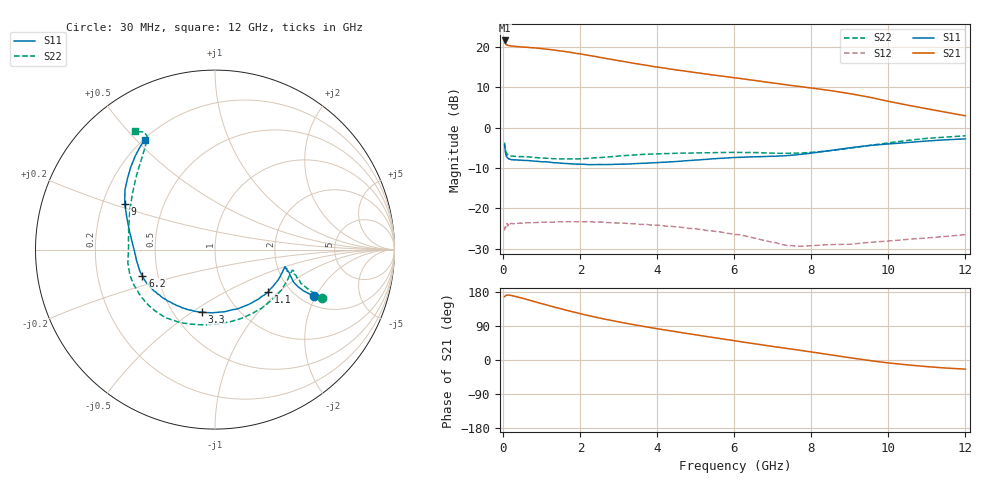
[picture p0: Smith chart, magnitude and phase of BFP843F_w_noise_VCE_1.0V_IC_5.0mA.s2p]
! Infineon Technologies  Discrete & RF Semiconductors
! BFP843F
! VCE =  1.0 V,  IC =  5.0 mA
! Common Emitter S-Parameters:  Aug 2013
# GHz  S  MA  R  50
!  f  S11  S21  S12  S22
! GHz  MAG  ANG  MAG  ANG  MAG  ANG  MAG  ANG
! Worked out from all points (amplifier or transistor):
!   103 points, 30 MHz to 12 GHz, reference 50 ohm
!   highest |S21| = 21.6 dB at 30 MHz (marker M1)
!   |S21| within 3 dB of that: start of sweep to 1.774 GHz
!   unconditionally stable (mu >= 1): 222 MHz to 447.5 MHz; 470.9 MHz to 505 MHz; 3.858 GHz to end of sweep
!   at 400 MHz: K = 1.00, MAG = 21.5 dB, |S12| = -23.7 dB
!   at 3.7 GHz: K = 0.98, MSG = 19.7 dB, |S12| = -23.9 dB
!   at 12 GHz: K = 1.54, MAG = 10.4 dB, |S12| = -26.5 dB
!   lowest NFmin = 0.82 dB at 450 MHz
!   S11 on the Smith chart (normalised r, x): 30 MHz: 2.34, -1.95; 1.1 GHz: 1.55, -0.86; 3.3 GHz: 0.69, -0.55; 6.2 GHz: 0.41, -0.15; 9 GHz: 0.29, +0.22; 12 GHz: 0.20, +0.53
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0.03  0.6119 -25.2  12.03 167.1  0.0531 34.7  0.656 -24.1
0.04  0.5431 -25.0  11.47 167.5  0.0585 26.7  0.5874 -23.6
0.05  0.5042 -24.0  11.06 169.7  0.0591 19.9  0.5432 -22.4
0.07  0.4547 -20.3  10.71 170.6  0.0624 14.7  0.4978 -19.7
0.15  0.4103 -14.7  10.38 171.2  0.0634 7.9  0.4511 -14.9
0.6  0.3929 -22.9  9.919 160.0  0.0664 2.0  0.4341 -27.5
0.9  0.3826 -32.4  9.649 151.4  0.0671 -0.4  0.4243 -39.6
1.1  0.3786 -38.8  9.39 145.9  0.0678 -1.0  0.4191 -48.0
1.3  0.3685 -45.4  9.178 140.2  0.0677 -1.4  0.4125 -56.4
1.6  0.3608 -55.0  8.777 132.3  0.0685 -3.8  0.4103 -68.7
2.1  0.3521 -70.6  8.032 119.7  0.0682 -7.2  0.415 -87.7
2.7  0.3498 -87.0  7.139 106.5  0.0668 -10.6  0.4327 -106.0
3.3  0.3553 -101.9  6.383 94.8  0.0648 -13.7  0.4552 -119.6
4.1  0.3723 -119.7  5.54 80.8  0.0617 -17.7  0.4759 -133.4
5.1  0.3993 -140.5  4.743 64.8  0.055 -22.0  0.4875 -148.6
6.1  0.4293 -158.5  4.104 49.3  0.0474 -24.3  0.4941 -163.3
6.2  0.43 -160.3  4.035 47.7  0.0464 -24.2  0.4935 -164.9
7.1  0.4441 -175.8  3.53 34.2  0.0375 -20.3  0.4829 -178.4
8.5  0.5224 160.1  2.88 13.6  0.0357 -0.5  0.5196 156.1
9  0.5634 153.2  2.64 6.0  0.036 3.7  0.5563 145.8
10.5  0.6553 135.9  1.903 -12.9  0.0414 13.1  0.6963 123.8
12  0.7266 122.6  1.403 -24.1  0.0474 20.4  0.794 124.0
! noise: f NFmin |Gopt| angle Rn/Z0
0.45  0.82  0.16  11  0.06
0.9  0.84  0.16  21  0.06
1.5  0.9  0.16  29  0.07
1.9  0.95  0.15  45  0.07
2.4  0.99  0.15  57  0.08
3.5  1.06  0.17  86  0.13
5.5  1.18  0.17  152  0.19
10  1.9  0.38  -124  0.23
